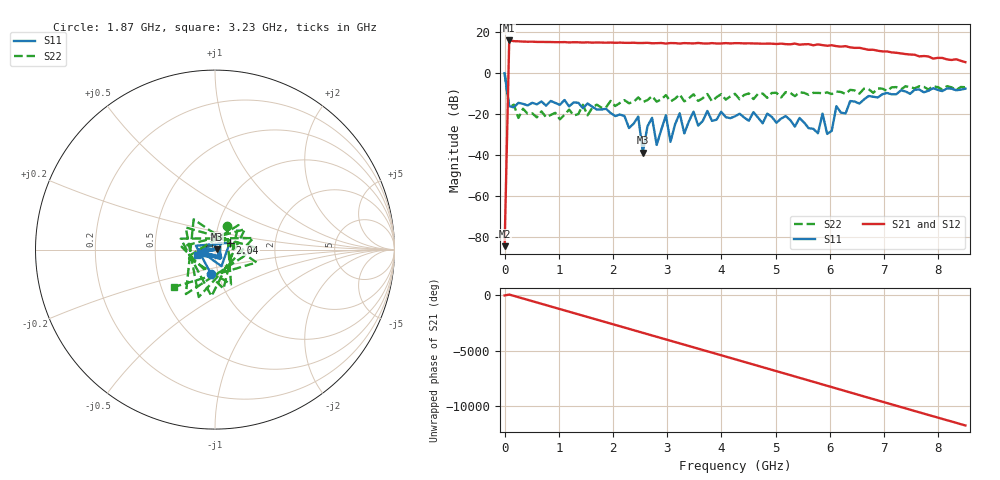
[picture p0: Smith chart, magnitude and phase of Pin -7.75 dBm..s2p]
! RsaToolbox (C) 2013 Rohde & Schwarz America
! Number of points: 101
! Number of ports: 2
! Balanced ports?: 0
# Hz S RI R 50
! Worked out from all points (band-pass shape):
!   101 points, 9 kHz to 8.5 GHz, reference 50 ohm
!   highest |S21| = 16.08 dB at 85.01 MHz (marker M1); lowest = -84.3 dB at 9 kHz (marker M2)
!   |S21| within 3 dB of the highest: 82.47 MHz to 6.321 GHz (6.238 GHz wide, 195 % of centre)
!   lowest |S11| = -38.6 dB at 2.55 GHz (marker M3), VSWR 1.02, Z = 51.2 + j0.0776 ohm
!   |S11| at or under -10 dB: 53.36 MHz to 6.988 GHz (6.935 GHz wide, 197 % of centre); 7.114 GHz to 7.232 GHz (118.4 MHz wide, 1.65 % of centre)
!   |S22| runs from -22.4 to 0.2 dB; largest |S21 - S12| = 0
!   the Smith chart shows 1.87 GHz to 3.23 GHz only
!   S11 on the Smith chart (normalised r, x): 1.87 GHz: 0.92, -0.26; 2.04 GHz: 1.18, +0.09; 3.23 GHz: 0.81, -0.05
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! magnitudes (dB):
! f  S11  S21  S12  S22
! 9 kHz  0.1  -84.3  -84.3  0.2
! 85.01 MHz  -16.0  16.1  16.1  -16.6
! 1.02 GHz  -15.3  15.2  15.2  -22.4
! 1.445 GHz  -17.0  15.1  15.1  -15.3
! 1.87 GHz  -17.2  15.0  15.0  -16.6
! 2.04 GHz  -20.8  14.9  14.9  -15.9
! 2.465 GHz  -21.0  14.8  14.8  -11.7
! 2.55 GHz  -38.6  14.8  14.8  -14.0
! 2.72 GHz  -21.6  14.7  14.7  -11.1
! 2.805 GHz  -34.8  14.7  14.7  -13.8
! 2.89 GHz  -27.5  14.8  14.8  -12.7
! 2.975 GHz  -20.4  14.5  14.5  -10.6
! 3.06 GHz  -33.4  14.8  14.8  -13.7
! 3.23 GHz  -19.4  14.6  14.6  -10.2
! 3.315 GHz  -29.3  14.8  14.8  -13.6
! 3.485 GHz  -18.6  14.6  14.6  -10.2
! 3.57 GHz  -25.4  14.9  14.9  -13.4
! 4.25 GHz  -20.9  14.8  14.8  -9.9
! 5.695 GHz  -27.0  13.7  13.7  -9.5
! 6.12 GHz  -16.0  13.3  13.3  -8.8
! 7.14 GHz  -10.2  10.3  10.3  -6.8
! 8.5 GHz  -7.4  5.5  5.5  -6.7
